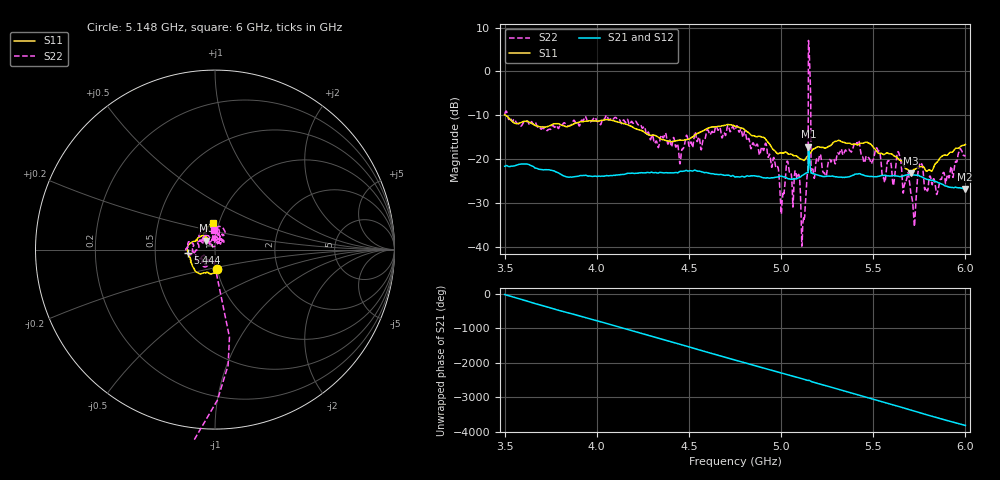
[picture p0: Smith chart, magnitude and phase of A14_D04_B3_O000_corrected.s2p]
! Created with skrf 1.9.0 (http://scikit-rf.org).
# Hz S RI R 50.0
!freq ReS11 ImS11 ReS21 ImS21 ReS12 ImS12 ReS22 ImS22
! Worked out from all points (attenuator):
!   1601 points, 3.5 GHz to 6 GHz, reference 50 ohm
!   highest |S21| = -17.15 dB at 5.148 GHz (marker M1); lowest = -26.8 dB at 5.997 GHz (marker M2)
!   lowest |S11| = -23.2 dB at 5.703 GHz (marker M3), VSWR 1.15, Z = 45.2 + j4.55 ohm
!   |S11| at or under -10 dB: 3.506 GHz to end of sweep
!   |S22| runs from -39.8 to 7.1 dB; largest |S21 - S12| = 0.0011
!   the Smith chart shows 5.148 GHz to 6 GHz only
!   S11 on the Smith chart (normalised r, x): 5.148 GHz: 1.00, -0.22; 5.444 GHz: 0.74, -0.03; 6 GHz: 0.94, +0.28
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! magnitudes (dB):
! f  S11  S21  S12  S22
! 3.5 GHz  -9.9  -21.6  -21.6  -9.7
! 3.917 GHz  -11.5  -23.7  -23.7  -11.1
! 4.334 GHz  -15.0  -23.2  -23.1  -17.4
! 4.75 GHz  -12.5  -24.1  -24.0  -13.3
! 4.923 GHz  -15.9  -24.2  -24.2  -17.7
! 5.005 GHz  -18.5  -23.9  -23.9  -30.0
! 5.036 GHz  -18.7  -24.4  -24.4  -20.5
! 5.088 GHz  -19.4  -24.4  -24.4  -24.3
! 5.12 GHz  -20.3  -23.6  -23.5  -34.0
! 5.134 GHz  -19.8  -23.2  -23.1  -28.9
! 5.148 GHz  -19.1  -17.2  -17.1  7.1
! 5.161 GHz  -18.4  -22.7  -22.6  -6.1
! 5.167 GHz  -18.0  -23.2  -23.2  -21.9
! 5.175 GHz  -17.7  -23.3  -23.3  -23.0
! 5.444 GHz  -16.4  -23.6  -23.5  -19.6
! 5.584 GHz  -18.7  -23.8  -23.8  -20.3
! 5.703 GHz  -23.2  -23.6  -23.6  -27.5
! 5.722 GHz  -22.3  -23.6  -23.5  -34.7
! 5.756 GHz  -21.7  -23.9  -23.8  -21.5
! 5.848 GHz  -20.6  -25.3  -25.2  -27.6
! 5.997 GHz  -16.7  -26.8  -26.7  -19.2
! 6 GHz  -16.6  -26.8  -26.7  -19.4
